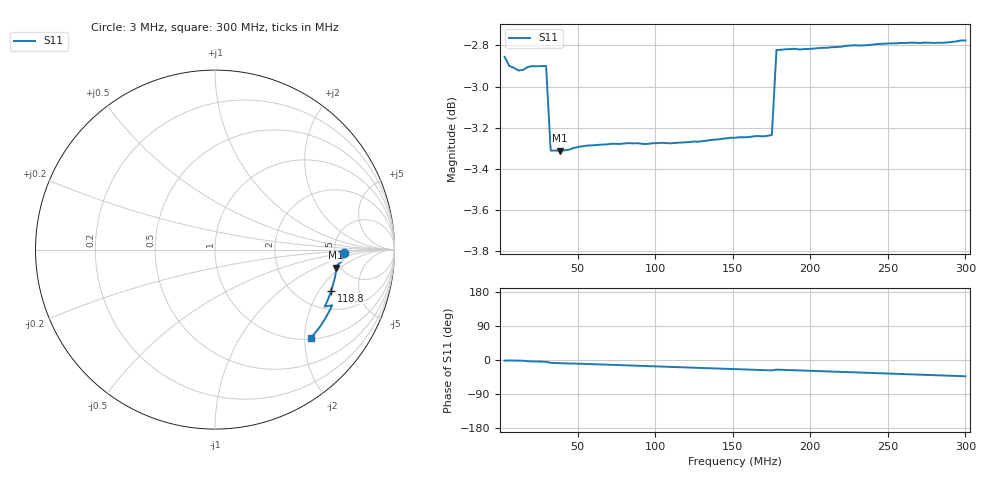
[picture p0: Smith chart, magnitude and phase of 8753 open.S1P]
! C:\data\NanoVNA\8753 open.S1P
! Touchstone 1.1 file saved by VNA.EXE V1.60 (www.ke5fx.com/gpib/readme.htm)
! 22/08/2019 8:31:22 a.m.
!  Source: HEWLETT PACKARD,8753C,0,4.12
!  Min freq: 3.000000E+006 Hz
!  Max freq: 3.000000E+008 Hz
!  Points: 101
!  Params: S11
# GHZ S MA R 50
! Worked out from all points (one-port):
!   101 points, 3 MHz to 300 MHz, reference 50 ohm
!   lowest |S11| = -3.3 dB at 38.64 MHz (marker M1), VSWR 5.31, Z = 231 - j87 ohm
!   |S11| at or under -10 dB: nowhere
!   S11 on the Smith chart (normalised r, x): 3 MHz: 6.09, -0.55; 118.8 MHz: 2.99, -2.58; 300 MHz: 1.02, -2.13
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0.003  0.7198 -1.7
0.00597  0.7162 -1.3
0.00894  0.7155 -1.4
0.01191  0.7144 -1.7
0.01488  0.7146 -1.9
0.01785  0.7158 -3.3
0.02973  0.7162 -4.8
0.0327  0.6831 -7.6
0.03864  0.6831 -8.4
0.04161  0.6831 -8.9
0.04458  0.6834 -9.3
0.04755  0.6841 -9.3
0.05646  0.685 -10.6
0.07725  0.6856 -13.5
0.08913  0.6859 -15.2
0.0921  0.6856 -15.7
0.10398  0.686 -17.3
0.11586  0.6861 -19.0
0.11883  0.6862 -19.4
0.13665  0.6872 -22.0
0.1515  0.688 -24.1
0.17526  0.6891 -27.4
0.17823  0.7226 -25.4
0.19011  0.7231 -27.1
0.22575  0.7244 -32.2
0.24357  0.7251 -34.8
0.26436  0.7256 -37.8
0.3  0.7265 -42.9
